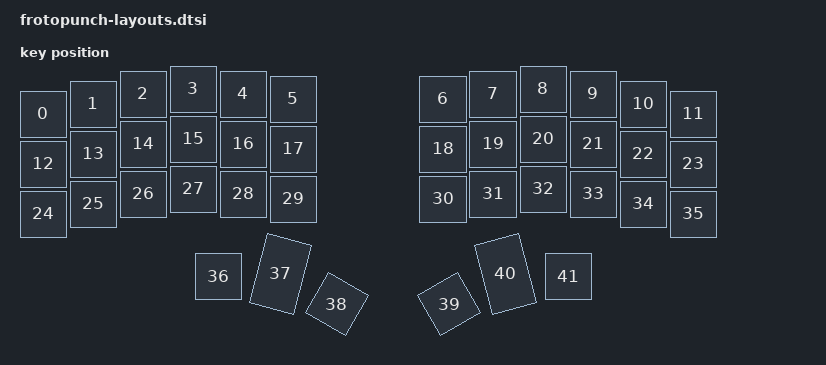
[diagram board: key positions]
#include <dt-bindings/zmk/matrix_transform.h>
#include <physical_layouts.dtsi>

/ {
    default_layout: default_layout {
        compatible = "zmk,physical-layout";
        display-name = "Default";
        transform = <&default_transform>;
        kscan = <&kscan0>;
        keys  //                     w   h    x    y    rot    rx    ry
            = <&key_physical_attrs 100 100    0   50      0     0     0>
            , <&key_physical_attrs 100 100  100   30      0     0     0>
            , <&key_physical_attrs 100 100  200   10      0     0     0>
            , <&key_physical_attrs 100 100  300    0      0     0     0>
            , <&key_physical_attrs 100 100  400   10      0     0     0>
            , <&key_physical_attrs 100 100  500   20      0     0     0>
            , <&key_physical_attrs 100 100  800   20      0     0     0>
            , <&key_physical_attrs 100 100  900   10      0     0     0>
            , <&key_physical_attrs 100 100 1000    0      0     0     0>
            , <&key_physical_attrs 100 100 1100   10      0     0     0>
            , <&key_physical_attrs 100 100 1200   30      0     0     0>
            , <&key_physical_attrs 100 100 1300   50      0     0     0>

            , <&key_physical_attrs 100 100    0  150      0     0     0>
            , <&key_physical_attrs 100 100  100  130      0     0     0>
            , <&key_physical_attrs 100 100  200  110      0     0     0>
            , <&key_physical_attrs 100 100  300  100      0     0     0>
            , <&key_physical_attrs 100 100  400  110      0     0     0>
            , <&key_physical_attrs 100 100  500  120      0     0     0>
            , <&key_physical_attrs 100 100  800  120      0     0     0>
            , <&key_physical_attrs 100 100  900  110      0     0     0>
            , <&key_physical_attrs 100 100 1000  100      0     0     0>
            , <&key_physical_attrs 100 100 1100  110      0     0     0>
            , <&key_physical_attrs 100 100 1200  130      0     0     0>
            , <&key_physical_attrs 100 100 1300  150      0     0     0>

            , <&key_physical_attrs 100 100    0  250      0     0     0>
            , <&key_physical_attrs 100 100  100  230      0     0     0>
            , <&key_physical_attrs 100 100  200  210      0     0     0>
            , <&key_physical_attrs 100 100  300  200      0     0     0>
            , <&key_physical_attrs 100 100  400  210      0     0     0>
            , <&key_physical_attrs 100 100  500  220      0     0     0>
            , <&key_physical_attrs 100 100  800  220      0     0     0>
            , <&key_physical_attrs 100 100  900  210      0     0     0>
            , <&key_physical_attrs 100 100 1000  200      0     0     0>
            , <&key_physical_attrs 100 100 1100  210      0     0     0>
            , <&key_physical_attrs 100 100 1200  230      0     0     0>
            , <&key_physical_attrs 100 100 1300  250      0     0     0>

            , <&key_physical_attrs 100 100  350  375      0     0     0>
            , <&key_physical_attrs 100 150  475  325   1500   450   410>
            , <&key_physical_attrs 100 100  600  375   3000   540   430>
            , <&key_physical_attrs 100 100  800  375 (-3000)  960   430>
            , <&key_physical_attrs 100 150  925  325 (-1500) 1050   410>
            , <&key_physical_attrs 100 100 1050  375      0     0     0>
        ;
    };
};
